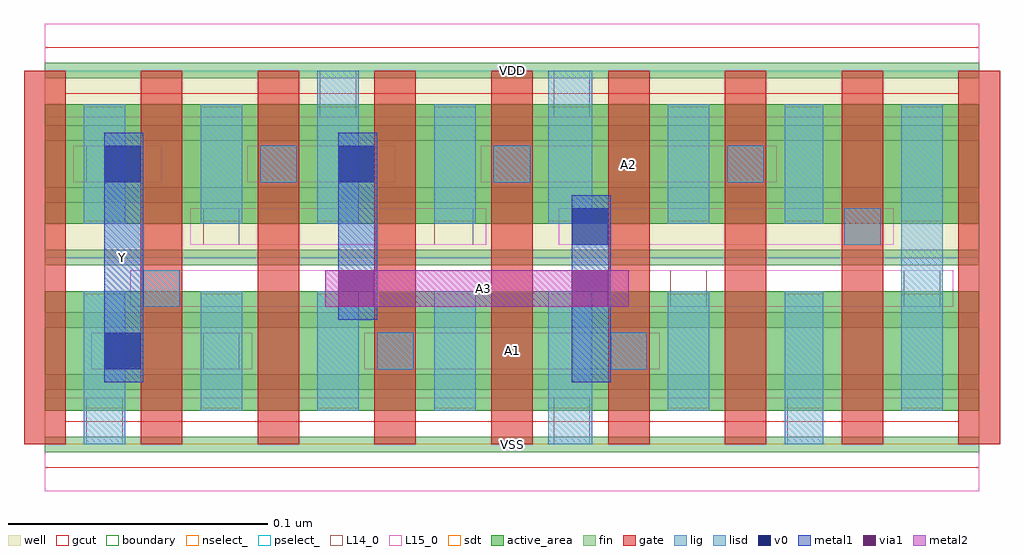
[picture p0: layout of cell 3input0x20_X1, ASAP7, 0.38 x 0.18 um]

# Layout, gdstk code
import gdstk
lib = gdstk.Library(unit=1e-6, precision=1e-09)
def R(c, l, rs):  # rectangles x0, y0, x1, y1
    for r in rs: c.add(gdstk.rectangle(r[:2], r[2:], *l))
def A(c, l, x, y, w, h, nx, ny, dx, dy):  # array of equal rectangles
    R(c, l, [(x+i*dx, y+j*dy, x+i*dx+w, y+j*dy+h) for i in range(nx) for j in range(ny)])
def P(c, l, *ps):  # polygons
    for p in ps: c.add(gdstk.Polygon(p, *l))
well = (1, 0)
fin = (2, 0)
gate = (7, 0)
gcut = (10, 0)
active_area = (11, 0)
nselect_ = (12, 0)
pselect_ = (13, 0)
L14_0 = (14, 0)
L15_0 = (15, 0)
lig = (16, 0)
lisd = (17, 0)
v0 = (18, 0)
metal1 = (19, 0)
metal2 = (20, 0)
via1 = (21, 0)
sdt = (88, 0)
boundary = (100, 0)

c_3input0x20_x1 = lib.new_cell('3input0x20_X1')
R(c_3input0x20_x1, well, [(0,0.072,0.36,0.144)])
A(c_3input0x20_x1, fin, 0, -0.003, 0.36, 0.006, 1, 7, 0, 0.024)
A(c_3input0x20_x1, gate, -0.008, 0, 0.016, 0.144, 9, 1, 0.045, 0)
P(c_3input0x20_x1, gcut, [(0,-0.009),(0,0),(-0.008,0),(-0.008,0.135),(0.008,0.135),(0.008,0.009),(0.352,0.009),(0.352,0.135),(-0.008,0.135),(-0.008,0.144),(0,0.144),(0,0.153),(0.36,0.153),(0.36,0.144),(0.368,0.144),(0.368,0),(0.36,0),(0.36,-0.009)])
R(c_3input0x20_x1, active_area, [(0,0.013,0.36,0.059), (0,0.085,0.36,0.131)])
R(c_3input0x20_x1, nselect_, [(0,0,0.36,0.072)])
R(c_3input0x20_x1, pselect_, [(0,0.072,0.36,0.144)])
A(c_3input0x20_x1, L14_0, 0.083, 0.101, 0.014, 0.014, 3, 1, 0.09, 0)
R(c_3input0x20_x1, L14_0, [(0.016,0,0.03,0.018), (0.196,0,0.21,0.018), (0.286,0,0.3,0.018), (0.061,0.029,0.075,0.043), (0.128,0.029,0.142,0.043), (0.218,0.029,0.232,0.043), (0.038,0.053,0.052,0.067), (0.241,0.053,0.255,0.067), (0.331,0.053,0.345,0.067), (0.061,0.077,0.075,0.091), (0.15,0.077,0.165,0.091), (0.308,0.077,0.322,0.091), (0.016,0.101,0.03,0.115), (0.106,0.126,0.12,0.144), (0.196,0.126,0.21,0.144)])
R(c_3input0x20_x1, L15_0, [(0,-0.018,0.36,0.018), (0.018,0.029,0.08,0.043), (0.123,0.029,0.237,0.043), (0.033,0.053,0.35,0.067), (0.056,0.077,0.17,0.091), (0.198,0.077,0.327,0.091), (0.011,0.101,0.045,0.115), (0.078,0.101,0.135,0.115), (0.168,0.101,0.282,0.115), (0,0.126,0.36,0.162)])
A(c_3input0x20_x1, lig, 0.083, 0.101, 0.014, 0.014, 3, 1, 0.09, 0)
R(c_3input0x20_x1, lig, [(0.128,0.029,0.142,0.043), (0.218,0.029,0.232,0.043), (0.038,0.053,0.052,0.067), (0.308,0.077,0.322,0.091)])
A(c_3input0x20_x1, lisd, 0.06, 0.013, 0.016, 0.046, 3, 1, 0.045, 0)
A(c_3input0x20_x1, lisd, 0.06, 0.085, 0.016, 0.046, 3, 1, 0.09, 0)
R(c_3input0x20_x1, lisd, [(0.015,0,0.031,0.059), (0.194,0,0.211,0.059), (0.285,0,0.3,0.059), (0.24,0.013,0.256,0.059), (0.33,0.013,0.346,0.131), (0.015,0.085,0.031,0.131), (0.105,0.085,0.121,0.144), (0.194,0.085,0.211,0.144), (0.285,0.085,0.3,0.131)])
R(c_3input0x20_x1, v0, [(0.023,0.029,0.037,0.043), (0.203,0.077,0.217,0.091), (0.023,0.101,0.037,0.115), (0.113,0.101,0.127,0.115)])
R(c_3input0x20_x1, metal1, [(0.023,0.024,0.038,0.12), (0.203,0.024,0.218,0.096), (0.113,0.048,0.128,0.12)])
R(c_3input0x20_x1, metal2, [(0.108,0.053,0.225,0.067)])
R(c_3input0x20_x1, via1, [(0.113,0.053,0.127,0.067), (0.203,0.053,0.217,0.067)])
A(c_3input0x20_x1, sdt, 0.015, 0.014, 0.016, 0.044, 4, 2, 0.045, 0.072)
R(c_3input0x20_x1, sdt, [(0.194,0.014,0.211,0.058), (0.24,0.014,0.256,0.058), (0.285,0.014,0.3,0.058), (0.33,0.014,0.346,0.058), (0.194,0.086,0.211,0.13), (0.24,0.086,0.256,0.13), (0.285,0.086,0.3,0.13), (0.33,0.086,0.346,0.13)])
R(c_3input0x20_x1, boundary, [(0,0,0.36,0.144)])
c_3input0x20_x1.add(gdstk.Label('A1', (0.18,0.036), layer=15, texttype=251))
c_3input0x20_x1.add(gdstk.Label('VSS', (0.18,0), layer=15, texttype=251))
c_3input0x20_x1.add(gdstk.Label('VDD', (0.18,0.144), layer=15, texttype=251))
c_3input0x20_x1.add(gdstk.Label('VSS', (0.18,0), layer=15, texttype=251))
c_3input0x20_x1.add(gdstk.Label('VDD', (0.18,0.144), layer=15, texttype=251))
c_3input0x20_x1.add(gdstk.Label('A2', (0.225,0.108), layer=15, texttype=251))
c_3input0x20_x1.add(gdstk.Label('VSS', (0.18,0), layer=15, texttype=251))
c_3input0x20_x1.add(gdstk.Label('VDD', (0.18,0.144), layer=15, texttype=251))
c_3input0x20_x1.add(gdstk.Label('VSS', (0.18,0), layer=15, texttype=251))
c_3input0x20_x1.add(gdstk.Label('VDD', (0.18,0.144), layer=15, texttype=251))
c_3input0x20_x1.add(gdstk.Label('VSS', (0.18,0), layer=3, texttype=251))
c_3input0x20_x1.add(gdstk.Label('VSS', (0.18,0), layer=3, texttype=251))
c_3input0x20_x1.add(gdstk.Label('VSS', (0.18,0), layer=3, texttype=251))
c_3input0x20_x1.add(gdstk.Label('VSS', (0.18,0), layer=3, texttype=251))
c_3input0x20_x1.add(gdstk.Label('VDD', (0.18,0.144), layer=1, texttype=251))
c_3input0x20_x1.add(gdstk.Label('VDD', (0.18,0.144), layer=1, texttype=251))
c_3input0x20_x1.add(gdstk.Label('VDD', (0.18,0.144), layer=1, texttype=251))
c_3input0x20_x1.add(gdstk.Label('VDD', (0.18,0.144), layer=1, texttype=251))
c_3input0x20_x1.add(gdstk.Label('A3', (0.169,0.06), layer=20, texttype=251))
c_3input0x20_x1.add(gdstk.Label('Y', (0.03,0.072), layer=19, texttype=251))

lib.write_gds('3input0x20_X1.gds')
